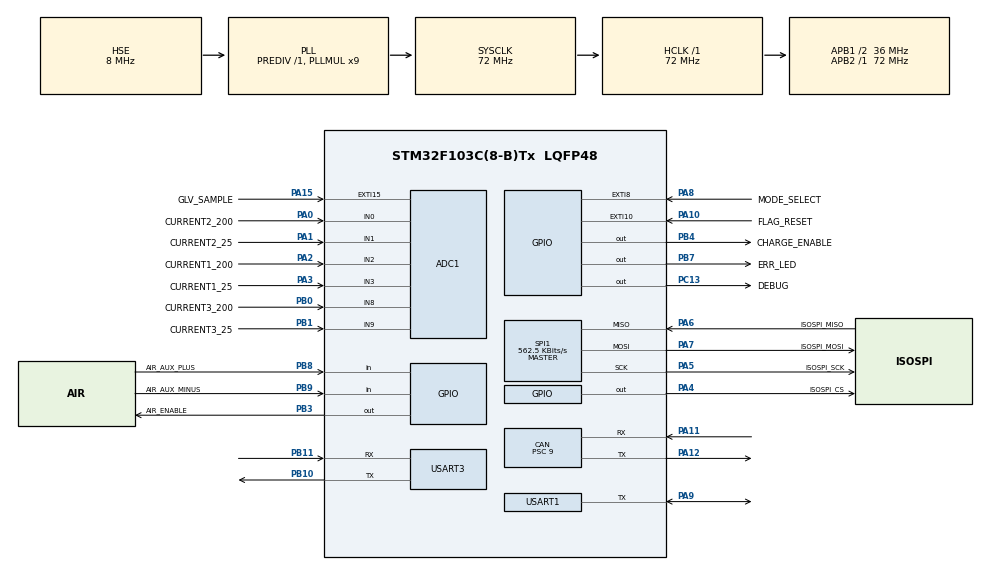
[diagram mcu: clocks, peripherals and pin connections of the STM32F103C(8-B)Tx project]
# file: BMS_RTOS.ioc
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ADC1.Channel-2\#ChannelRegularConversion=ADC_CHANNEL_0
ADC1.Channel-3\#ChannelRegularConversion=ADC_CHANNEL_0
ADC1.Channel-4\#ChannelRegularConversion=ADC_CHANNEL_0
ADC1.Channel-5\#ChannelRegularConversion=ADC_CHANNEL_0
ADC1.Channel-6\#ChannelRegularConversion=ADC_CHANNEL_0
ADC1.ContinuousConvMode=ENABLE
ADC1.NbrOfConversion=5
ADC1.NbrOfConversionFlag=1
ADC1.Rank-2\#ChannelRegularConversion=1
ADC1.Rank-3\#ChannelRegularConversion=2
ADC1.Rank-4\#ChannelRegularConversion=3
ADC1.Rank-5\#ChannelRegularConversion=4
ADC1.Rank-6\#ChannelRegularConversion=5
ADC1.SamplingTime-2\#ChannelRegularConversion=ADC_SAMPLETIME_1CYCLE_5
ADC1.SamplingTime-3\#ChannelRegularConversion=ADC_SAMPLETIME_1CYCLE_5
ADC1.SamplingTime-4\#ChannelRegularConversion=ADC_SAMPLETIME_1CYCLE_5
ADC1.SamplingTime-5\#ChannelRegularConversion=ADC_SAMPLETIME_1CYCLE_5
ADC1.SamplingTime-6\#ChannelRegularConversion=ADC_SAMPLETIME_1CYCLE_5
ADC1.master=1
CAN.ABOM=ENABLE
CAN.BS1=CAN_BS1_6TQ
CAN.CalculateBaudRate=500000
CAN.CalculateTimeBit=2000.00
CAN.CalculateTimeQuantum=250.0
CAN.Prescaler=9
Dma.ADC1.0.Direction=DMA_PERIPH_TO_MEMORY
Dma.ADC1.0.Instance=DMA1_Channel1
Dma.ADC1.0.MemDataAlignment=DMA_MDATAALIGN_WORD
Dma.ADC1.0.MemInc=DMA_MINC_ENABLE
Dma.ADC1.0.Mode=DMA_CIRCULAR
Dma.ADC1.0.PeriphDataAlignment=DMA_PDATAALIGN_WORD
Dma.ADC1.0.PeriphInc=DMA_PINC_DISABLE
Dma.ADC1.0.Priority=DMA_PRIORITY_VERY_HIGH
Dma.Request0=ADC1
Dma.Request1=USART3_RX
Dma.USART3_RX.1.Direction=DMA_PERIPH_TO_MEMORY
Dma.USART3_RX.1.Instance=DMA1_Channel3
Dma.USART3_RX.1.MemDataAlignment=DMA_MDATAALIGN_BYTE
Dma.USART3_RX.1.MemInc=DMA_MINC_ENABLE
Dma.USART3_RX.1.Mode=DMA_CIRCULAR
Dma.USART3_RX.1.PeriphDataAlignment=DMA_PDATAALIGN_BYTE
Dma.USART3_RX.1.PeriphInc=DMA_PINC_DISABLE
Dma.USART3_RX.1.Priority=DMA_PRIORITY_LOW
FREERTOS.BinarySemaphores01=ltcSemaphore,Dynamic,NULL
FREERTOS.INCLUDE_pcTaskGetTaskName=1
FREERTOS.INCLUDE_vTaskCleanUpResources=1
FREERTOS.INCLUDE_xEventGroupSetBitFromISR=1
FREERTOS.INCLUDE_xSemaphoreGetMutexHolder=1
FREERTOS.INCLUDE_xTaskAbortDelay=1
FREERTOS.INCLUDE_xTaskGetCurrentTaskHandle=1
FREERTOS.INCLUDE_xTaskGetHandle=1
FREERTOS.Queues01=q_maxVoltages,16,uint16_t,0,Dynamic,NULL,NULL;q_minVoltages,16,uint16_t,0,Dynamic,NULL,NULL;q_maxTemperatures,16,uint16_t,0,Dynamic,NULL,NULL;q_reportError,16,uint16_t,0,Dynamic,NULL,NULL
FREERTOS.Tasks01=t_readCellsVolts,40,128,read_cells_volts,As weak,NULL,Dynamic,NULL,NULL;t_readCellsTemp,33,128,read_cells_temp,As external,NULL,Dynamic,NULL,NULL;t_readCellsStatus,32,128,read_cells_status,As external,NULL,Dynamic,NULL,NULL;t_CANtransmission,28,128,CAN_transmission,As external,NULL,Dynamic,NULL,NULL;t_chargeUpdate,34,128,charge_update,As external,NULL,Dynamic,NULL,NULL;t_filterMaxVolts,41,128,filter_max_voltages,As external,NULL,Dynamic,NULL,NULL;t_filterMinVolts,41,128,filter_min_voltages,As external,NULL,Dynamic,NULL,NULL;t_filterTemp,35,128,filter_temperature,As external,NULL,Dynamic,NULL,NULL;t_errorVoltage,44,128,error_voltage,As external,NULL,Dynamic,NULL,NULL;t_errorTemp,43,128,error_over_temperature,As external,NULL,Dynamic,NULL,NULL;t_errorGLV,42,128,error_GLV_undervoltage,As external,NULL,Dynamic,NULL,NULL;t_errorMonitoring,48,128,error_monitoring,As external,NULL,Dynamic,NULL,NULL;t_nextionLoop,17,128,nextion_loop,As external,NULL,Dynamic,NULL,NULL
FREERTOS.configMAX_TASK_NAME_LEN=18
FREERTOS.configTOTAL_HEAP_SIZE=8800
Mcu.Family=STM32F1
Mcu.Name=STM32F103C(8-B)Tx
Mcu.Package=LQFP48
Mcu.UserConstants=__DLC__,8
NVIC.ADC1_2_IRQn=true\:1\:0\:true\:false\:true\:false\:true\:true
NVIC.DMA1_Channel1_IRQn=true\:5\:0\:false\:false\:true\:true\:false\:true
NVIC.DMA1_Channel3_IRQn=true\:5\:0\:false\:false\:true\:true\:false\:true
NVIC.EXTI15_10_IRQn=true\:5\:0\:false\:false\:true\:false\:true\:true
NVIC.EXTI9_5_IRQn=true\:5\:0\:false\:false\:true\:false\:true\:true
NVIC.PriorityGroup=NVIC_PRIORITYGROUP_4
NVIC.TIM1_UP_IRQn=true\:0\:0\:false\:false\:true\:false\:false\:true
NVIC.TIM3_IRQn=true\:5\:0\:false\:false\:true\:true\:true\:true
NVIC.TIM4_IRQn=true\:5\:0\:false\:false\:true\:true\:true\:true
NVIC.TimeBase=TIM1_UP_IRQn
NVIC.TimeBaseIP=TIM1
NVIC.USART3_IRQn=true\:5\:0\:false\:false\:true\:true\:true\:true
NVIC.USB_HP_CAN1_TX_IRQn=true\:5\:0\:false\:false\:true\:true\:true\:true
NVIC.USB_LP_CAN1_RX0_IRQn=true\:5\:0\:false\:false\:true\:true\:true\:true
PA0-WKUP.GPIO_Label=CURRENT2_200
PA0-WKUP.Signal=ADCx_IN0
PA1.GPIO_Label=CURRENT2_25
PA1.Signal=ADCx_IN1
PA10.GPIO_Label=FLAG_RESET
PA10.Signal=GPXTI10
PA11.Mode=CAN_Activate
PA11.Signal=CAN_RX
PA12.Mode=CAN_Activate
PA12.Signal=CAN_TX
PA13.Mode=Serial_Wire
PA13.Signal=SYS_JTMS-SWDIO
PA14.Mode=Serial_Wire
PA14.Signal=SYS_JTCK-SWCLK
PA15.GPIO_Label=GLV_SAMPLE
PA15.Signal=GPXTI15
PA2.GPIO_Label=CURRENT1_200
PA2.Signal=ADCx_IN2
PA3.GPIO_Label=CURRENT1_25
PA3.Signal=ADCx_IN3
PA4.GPIO_Label=ISOSPI_CS
PA4.Signal=GPIO_Output
PA5.GPIO_Label=ISOSPI_SCK
PA5.Mode=Full_Duplex_Master
PA5.Signal=SPI1_SCK
PA6.GPIO_Label=ISOSPI_MISO
PA6.Mode=Full_Duplex_Master
PA6.Signal=SPI1_MISO
PA7.GPIO_Label=ISOSPI_MOSI
PA7.Mode=Full_Duplex_Master
PA7.Signal=SPI1_MOSI
PA8.GPIO_Label=MODE_SELECT
PA8.Signal=GPXTI8
PA9.Mode=Half_duplex(single_wire_mode)
PA9.Signal=USART1_TX
PB0.GPIO_Label=CURRENT3_200
PB0.Signal=ADCx_IN8
PB1.GPIO_Label=CURRENT3_25
PB1.Signal=ADCx_IN9
PB10.Mode=Asynchronous
PB10.Signal=USART3_TX
PB11.Mode=Asynchronous
PB11.Signal=USART3_RX
PB3.GPIO_Label=AIR_ENABLE
PB3.Signal=GPIO_Output
PB4.GPIO_Label=CHARGE_ENABLE
PB4.Signal=GPIO_Output
PB7.GPIO_Label=ERR_LED
PB7.Signal=GPIO_Output
PB8.GPIO_Label=AIR_AUX_PLUS
PB8.Signal=GPIO_Input
PB9.GPIO_Label=AIR_AUX_MINUS
PB9.Signal=GPIO_Input
PC13-TAMPER-RTC.GPIO_Label=DEBUG
PC13-TAMPER-RTC.Signal=GPIO_Output
PD0-OSC_IN.GPIO_Label=OSCI
PD0-OSC_IN.Mode=HSE-External-Oscillator
PD0-OSC_IN.Signal=RCC_OSC_IN
PD1-OSC_OUT.GPIO_Label=OSCO
PD1-OSC_OUT.Mode=HSE-External-Oscillator
PD1-OSC_OUT.Signal=RCC_OSC_OUT
ProjectManager.HeapSize=0x200
ProjectManager.StackSize=0x400
ProjectManager.TargetToolchain=STM32CubeIDE
RCC.ADCPresc=RCC_ADCPCLK2_DIV6
RCC.AHBFreq_Value=72000000
RCC.APB1CLKDivider=RCC_HCLK_DIV2
RCC.APB1Freq_Value=36000000
RCC.APB1TimFreq_Value=72000000
RCC.APB2Freq_Value=72000000
RCC.APB2TimFreq_Value=72000000
RCC.HCLKFreq_Value=72000000
RCC.PLLMUL=RCC_PLL_MUL9
RCC.PLLSourceVirtual=RCC_PLLSOURCE_HSE
RCC.SYSCLKFreq_VALUE=72000000
RCC.SYSCLKSource=RCC_SYSCLKSOURCE_PLLCLK
RCC.USBFreq_Value=72000000
SH.ADCx_IN0.0=ADC1_IN0,IN0
SH.ADCx_IN0.1=ADC2_IN0
SH.ADCx_IN1.0=ADC1_IN1,IN1
SH.ADCx_IN1.1=ADC2_IN1
SH.ADCx_IN2.0=ADC1_IN2,IN2
SH.ADCx_IN3.0=ADC1_IN3,IN3
SH.ADCx_IN8.0=ADC1_IN8,IN8
SH.ADCx_IN9.0=ADC1_IN9,IN9
SPI1.BaudRatePrescaler=SPI_BAUDRATEPRESCALER_128
SPI1.CalculateBaudRate=562.5 KBits/s
SPI1.DataSize=SPI_DATASIZE_16BIT
SPI1.Direction=SPI_DIRECTION_2LINES
SPI1.Mode=SPI_MODE_MASTER
SPI1.VirtualType=VM_MASTER
TIM3.Period=5000
TIM3.Prescaler=7200
TIM4.Period=100
TIM4.Prescaler=720
USART1.VirtualMode=VM_ASYNC
USART3.VirtualMode=VM_ASYNC
VP_FREERTOS_VS_CMSIS_V2.Mode=CMSIS_V2
VP_SYS_VS_tim1.Mode=TIM1
VP_TIM3_VS_ClockSourceINT.Mode=Internal
VP_TIM4_VS_ClockSourceINT.Mode=Internal
board=custom

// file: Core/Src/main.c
/* USER CODE BEGIN Header */
/**
  ******************************************************************************
  * @file           : main.c
  * @brief          : Main program body
  ******************************************************************************
  * @attention
  *
  * <h2><center>&copy; Copyright (c) 2020 STMicroelectronics.
  * All rights reserved.</center></h2>
  *
  * This software component is licensed by ST under Ultimate Liberty license
  * SLA0044, the "License"; You may not use this file except in compliance with
  * the License. You may obtain a copy of the License at:
  *                             www.st.com/SLA0044
  *
  ******************************************************************************
  */
/* USER CODE END Header */
#include "main.h"
#include "cmsis_os.h"

ADC_HandleTypeDef hadc1;
DMA_HandleTypeDef hdma_adc1;

CAN_HandleTypeDef hcan;

SPI_HandleTypeDef hspi1;

TIM_HandleTypeDef htim3;
TIM_HandleTypeDef htim4;

UART_HandleTypeDef huart1;
UART_HandleTypeDef huart3;
DMA_HandleTypeDef hdma_usart3_rx;

/* Definitions for t_readCellsVolts */
osThreadId_t t_readCellsVoltsHandle;
const osThreadAttr_t t_readCellsVolts_attributes = {
  .name = "t_readCellsVolts",
  .priority = (osPriority_t) osPriorityHigh,
  .stack_size = 128 * 4
};
/* Definitions for t_readCellsTemp */
osThreadId_t t_readCellsTempHandle;
const osThreadAttr_t t_readCellsTemp_attributes = {
  .name = "t_readCellsTemp",
  .priority = (osPriority_t) osPriorityAboveNormal1,
  .stack_size = 128 * 4
};
/* Definitions for t_readCellsStatus */
osThreadId_t t_readCellsStatusHandle;
const osThreadAttr_t t_readCellsStatus_attributes = {
  .name = "t_readCellsStatus",
  .priority = (osPriority_t) osPriorityAboveNormal,
  .stack_size = 128 * 4
};
/* Definitions for t_CANtransmission */
osThreadId_t t_CANtransmissionHandle;
const osThreadAttr_t t_CANtransmission_attributes = {
  .name = "t_CANtransmission",
  .priority = (osPriority_t) osPriorityNormal4,
  .stack_size = 128 * 4
};
/* Definitions for t_chargeUpdate */
osThreadId_t t_chargeUpdateHandle;
const osThreadAttr_t t_chargeUpdate_attributes = {
  .name = "t_chargeUpdate",
  .priority = (osPriority_t) osPriorityAboveNormal2,
  .stack_size = 128 * 4
};
/* Definitions for t_filterMaxVolts */
osThreadId_t t_filterMaxVoltsHandle;
const osThreadAttr_t t_filterMaxVolts_attributes = {
  .name = "t_filterMaxVolts",
  .priority = (osPriority_t) osPriorityHigh1,
  .stack_size = 128 * 4
};
/* Definitions for t_filterMinVolts */
osThreadId_t t_filterMinVoltsHandle;
const osThreadAttr_t t_filterMinVolts_attributes = {
  .name = "t_filterMinVolts",
  .priority = (osPriority_t) osPriorityHigh1,
  .stack_size = 128 * 4
};
/* Definitions for t_filterTemp */
osThreadId_t t_filterTempHandle;
const osThreadAttr_t t_filterTemp_attributes = {
  .name = "t_filterTemp",
  .priority = (osPriority_t) osPriorityAboveNormal3,
  .stack_size = 128 * 4
};
/* Definitions for t_errorVoltage */
osThreadId_t t_errorVoltageHandle;
const osThreadAttr_t t_errorVoltage_attributes = {
  .name = "t_errorVoltage",
  .priority = (osPriority_t) osPriorityHigh4,
  .stack_size = 128 * 4
};
/* Definitions for t_errorTemp */
osThreadId_t t_errorTempHandle;
const osThreadAttr_t t_errorTemp_attributes = {
  .name = "t_errorTemp",
  .priority = (osPriority_t) osPriorityHigh3,
  .stack_size = 128 * 4
};
/* Definitions for t_errorGLV */
osThreadId_t t_errorGLVHandle;
const osThreadAttr_t t_errorGLV_attributes = {
  .name = "t_errorGLV",
  .priority = (osPriority_t) osPriorityHigh2,
  .stack_size = 128 * 4
};
/* Definitions for t_errorMonitoring */
osThreadId_t t_errorMonitoringHandle;
const osThreadAttr_t t_errorMonitoring_attributes = {
  .name = "t_errorMonitoring",
  .priority = (osPriority_t) osPriorityRealtime,
  .stack_size = 128 * 4
};
/* Definitions for t_nextionLoop */
osThreadId_t t_nextionLoopHandle;
const osThreadAttr_t t_nextionLoop_attributes = {
  .name = "t_nextionLoop",
  .priority = (osPriority_t) osPriorityBelowNormal1,
  .stack_size = 128 * 4
};
/* Definitions for q_maxVoltages */
osMessageQueueId_t q_maxVoltagesHandle;
const osMessageQueueAttr_t q_maxVoltages_attributes = {
  .name = "q_maxVoltages"
};
/* Definitions for q_minVoltages */
osMessageQueueId_t q_minVoltagesHandle;
const osMessageQueueAttr_t q_minVoltages_attributes = {
  .name = "q_minVoltages"
};
/* Definitions for q_maxTemperatures */
osMessageQueueId_t q_maxTemperaturesHandle;
const osMessageQueueAttr_t q_maxTemperatures_attributes = {
  .name = "q_maxTemperatures"
};
/* Definitions for q_reportError */
osMessageQueueId_t q_reportErrorHandle;
const osMessageQueueAttr_t q_reportError_attributes = {
  .name = "q_reportError"
};
/* Definitions for ltcSemaphore */
osSemaphoreId_t ltcSemaphoreHandle;
const osSemaphoreAttr_t ltcSemaphore_attributes = {
  .name = "ltcSemaphore"
};

void SystemClock_Config(void);
extern void MX_GPIO_Init(void);
extern void MX_DMA_Init(void);
extern void MX_ADC1_Init(void);
extern void MX_CAN_Init(void);
extern void MX_SPI1_Init(void);
extern void MX_TIM3_Init(void);
extern void MX_TIM4_Init(void);
extern void MX_USART1_UART_Init(void);
extern void MX_USART3_UART_Init(void);
extern void read_cells_volts(void *argument);
extern void read_cells_temp(void *argument);
extern void read_cells_status(void *argument);
extern void CAN_transmission(void *argument);
extern void charge_update(void *argument);
extern void filter_max_voltages(void *argument);
extern void filter_min_voltages(void *argument);
extern void filter_temperature(void *argument);
extern void error_voltage(void *argument);
extern void error_over_temperature(void *argument);
extern void error_GLV_undervoltage(void *argument);
extern void error_monitoring(void *argument);
extern void nextion_loop(void *argument);

/* USER CODE BEGIN 0 */
static const float CURRENT_GAIN[4] = {1.22, 1.51, 1.22, 1.22};
//extern DMA_HandleTypeDef hdma_usart3_rx;
uint16_t virt_add_var_tab[NumbOfVar] = {0x5555, 0x6666, 0x7777};

BMS_struct_t* BMS;
int32_t ADC_buf[5];

int initial_readings = 0;
float current_zero[N_OF_DHAB];

CAN_TxHeaderTypeDef pHeader;

float filter(float old, float new)
{
	return (FILTER_GAIN*old + new)/(FILTER_GAIN + 1);
}

void HAL_ADC_ConvCpltCallback(ADC_HandleTypeDef* hadc)
{
	if(initial_readings < 5)
	{
		for(uint8_t i = 0; i < N_OF_DHAB; i++)
		{
			current_zero[i] += ((float)ADC_buf[i] * (float)CURRENT_GAIN[i]);
			initial_readings++;

			if(initial_readings == 5)
			{
				for(uint8_t j = 0; j < N_OF_DHAB; j++)
					current_zero[j] = current_zero[j]/5;
			}
		}
	}
	else
	{
		for(uint8_t i = 0; i < N_OF_DHAB; i++)
		{
			BMS->dhabSensor[i]->currentADC = filter((float)BMS->dhabSensor[i]->currentADC, (float)ADC_buf[i]);
			BMS->dhabSensor[i]->current = filter(BMS->dhabSensor[i]->current, ((float)ADC_buf[i] * CURRENT_GAIN[i]) - current_zero[i]);			//BMS->current[i] = filter(BMS->current[i], (ADC_buf[i]));
		}
	}

	BMS->v_GLV = filter(BMS->v_GLV , ((float)(ADC_buf[4] + 400) * 4.5));
}
/* USER CODE END 0 */

int main(void)
{

  /* MCU Configuration--------------------------------------------------------*/

  /* Reset of all peripherals, Initializes the Flash interface and the Systick. */
  HAL_Init();

  /* Configure the system clock */
  SystemClock_Config();

  /* Initialize all configured peripherals */
  MX_GPIO_Init();
  MX_DMA_Init();
  MX_ADC1_Init();
  MX_CAN_Init();
  MX_SPI1_Init();
  MX_TIM3_Init();
  MX_TIM4_Init();
  MX_USART1_UART_Init();
  MX_USART3_UART_Init();
  /* USER CODE BEGIN 2 */
  HAL_FLASH_Unlock();
  EE_Init();

  DWT_Delay_Init();

  HAL_ADC_Start_DMA(&hadc1, (uint32_t* )ADC_buf, 5);
  USART_DMA_Init(&huart3, &hdma_usart3_rx);

  CAN_Config_Filter();
  CAN_Config_Frames();
  HAL_CAN_Start(&hcan);
  HAL_CAN_ActivateNotification(&hcan, CAN_IT_TX_MAILBOX_EMPTY);

  HAL_TIM_Base_Start_IT(&htim3);
  HAL_TIM_Base_Start_IT(&htim4);

  BMS = (BMS_struct_t*) calloc(1, sizeof(BMS_struct_t));
  BMS_init(BMS);

  DWT_Delay_us(50000);

  HAL_GPIO_WritePin(CHARGE_ENABLE_GPIO_Port, CHARGE_ENABLE_Pin, 1);

  NexPageShow(1);
  /* USER CODE END 2 */

  /* Init scheduler */
  osKernelInitialize();

  /* Create the semaphores(s) */
  /* creation of ltcSemaphore */
  ltcSemaphoreHandle = osSemaphoreNew(1, 1, &ltcSemaphore_attributes);

  /* Create the queue(s) */
  /* creation of q_maxVoltages */
  q_maxVoltagesHandle = osMessageQueueNew (16, sizeof(uint16_t), &q_maxVoltages_attributes);

  /* creation of q_minVoltages */
  q_minVoltagesHandle = osMessageQueueNew (16, sizeof(uint16_t), &q_minVoltages_attributes);

  /* creation of q_maxTemperatures */
  q_maxTemperaturesHandle = osMessageQueueNew (16, sizeof(uint16_t), &q_maxTemperatures_attributes);

  /* creation of q_reportError */
  q_reportErrorHandle = osMessageQueueNew (16, sizeof(uint16_t), &q_reportError_attributes);

  /* Create the thread(s) */
  /* creation of t_readCellsVolts */
  t_readCellsVoltsHandle = osThreadNew(read_cells_volts, NULL, &t_readCellsVolts_attributes);

  /* creation of t_readCellsTemp */
  t_readCellsTempHandle = osThreadNew(read_cells_temp, NULL, &t_readCellsTemp_attributes);

  /* creation of t_readCellsStatus */
  t_readCellsStatusHandle = osThreadNew(read_cells_status, NULL, &t_readCellsStatus_attributes);

  /* creation of t_CANtransmission */
  t_CANtransmissionHandle = osThreadNew(CAN_transmission, NULL, &t_CANtransmission_attributes);

  /* creation of t_chargeUpdate */
  t_chargeUpdateHandle = osThreadNew(charge_update, NULL, &t_chargeUpdate_attributes);

  /* creation of t_filterMaxVolts */
  t_filterMaxVoltsHandle = osThreadNew(filter_max_voltages, NULL, &t_filterMaxVolts_attributes);

  /* creation of t_filterMinVolts */
  t_filterMinVoltsHandle = osThreadNew(filter_min_voltages, NULL, &t_filterMinVolts_attributes);

  /* creation of t_filterTemp */
  t_filterTempHandle = osThreadNew(filter_temperature, NULL, &t_filterTemp_attributes);

  /* creation of t_errorVoltage */
  t_errorVoltageHandle = osThreadNew(error_voltage, NULL, &t_errorVoltage_attributes);

  /* creation of t_errorTemp */
  t_errorTempHandle = osThreadNew(error_over_temperature, NULL, &t_errorTemp_attributes);

  /* creation of t_errorGLV */
  t_errorGLVHandle = osThreadNew(error_GLV_undervoltage, NULL, &t_errorGLV_attributes);

  /* creation of t_errorMonitoring */
  t_errorMonitoringHandle = osThreadNew(error_monitoring, NULL, &t_errorMonitoring_attributes);

  /* creation of t_nextionLoop */
  t_nextionLoopHandle = osThreadNew(nextion_loop, NULL, &t_nextionLoop_attributes);

  /* Start scheduler */
  osKernelStart();

  /* We should never get here as control is now taken by the scheduler */
  /* Infinite loop */
  while (1)
  {

  }
}

void SystemClock_Config(void)
{
  RCC_OscInitTypeDef RCC_OscInitStruct = {0};
  RCC_ClkInitTypeDef RCC_ClkInitStruct = {0};
  RCC_PeriphCLKInitTypeDef PeriphClkInit = {0};

  /** Initializes the RCC Oscillators according to the specified parameters
  * in the RCC_OscInitTypeDef structure.
  */
  RCC_OscInitStruct.OscillatorType = RCC_OSCILLATORTYPE_HSE;
  RCC_OscInitStruct.HSEState = RCC_HSE_ON;
  RCC_OscInitStruct.HSEPredivValue = RCC_HSE_PREDIV_DIV1;
  RCC_OscInitStruct.HSIState = RCC_HSI_ON;
  RCC_OscInitStruct.PLL.PLLState = RCC_PLL_ON;
  RCC_OscInitStruct.PLL.PLLSource = RCC_PLLSOURCE_HSE;
  RCC_OscInitStruct.PLL.PLLMUL = RCC_PLL_MUL9;
  if (HAL_RCC_OscConfig(&RCC_OscInitStruct) != HAL_OK)
  {
    Error_Handler();
  }
  /** Initializes the CPU, AHB and APB buses clocks
  */
  RCC_ClkInitStruct.ClockType = RCC_CLOCKTYPE_HCLK|RCC_CLOCKTYPE_SYSCLK
                              |RCC_CLOCKTYPE_PCLK1|RCC_CLOCKTYPE_PCLK2;
  RCC_ClkInitStruct.SYSCLKSource = RCC_SYSCLKSOURCE_PLLCLK;
  RCC_ClkInitStruct.AHBCLKDivider = RCC_SYSCLK_DIV1;
  RCC_ClkInitStruct.APB1CLKDivider = RCC_HCLK_DIV2;
  RCC_ClkInitStruct.APB2CLKDivider = RCC_HCLK_DIV1;

  if (HAL_RCC_ClockConfig(&RCC_ClkInitStruct, FLASH_LATENCY_2) != HAL_OK)
  {
    Error_Handler();
  }
  PeriphClkInit.PeriphClockSelection = RCC_PERIPHCLK_ADC;
  PeriphClkInit.AdcClockSelection = RCC_ADCPCLK2_DIV6;
  if (HAL_RCCEx_PeriphCLKConfig(&PeriphClkInit) != HAL_OK)
  {
    Error_Handler();
  }
}

 /**
  * @brief  Period elapsed callback in non blocking mode
  * @note   This function is called  when TIM1 interrupt took place, inside
  * HAL_TIM_IRQHandler(). It makes a direct call to HAL_IncTick() to increment
  * a global variable "uwTick" used as application time base.
  * @param  htim : TIM handle
  * @retval None
  */
void HAL_TIM_PeriodElapsedCallback(TIM_HandleTypeDef *htim)
{
  if (htim->Instance == TIM1) {
    HAL_IncTick();
  }
}

void Error_Handler(void)
{
}

/************************ (C) COPYRIGHT STMicroelectronics *****END OF FILE****/
